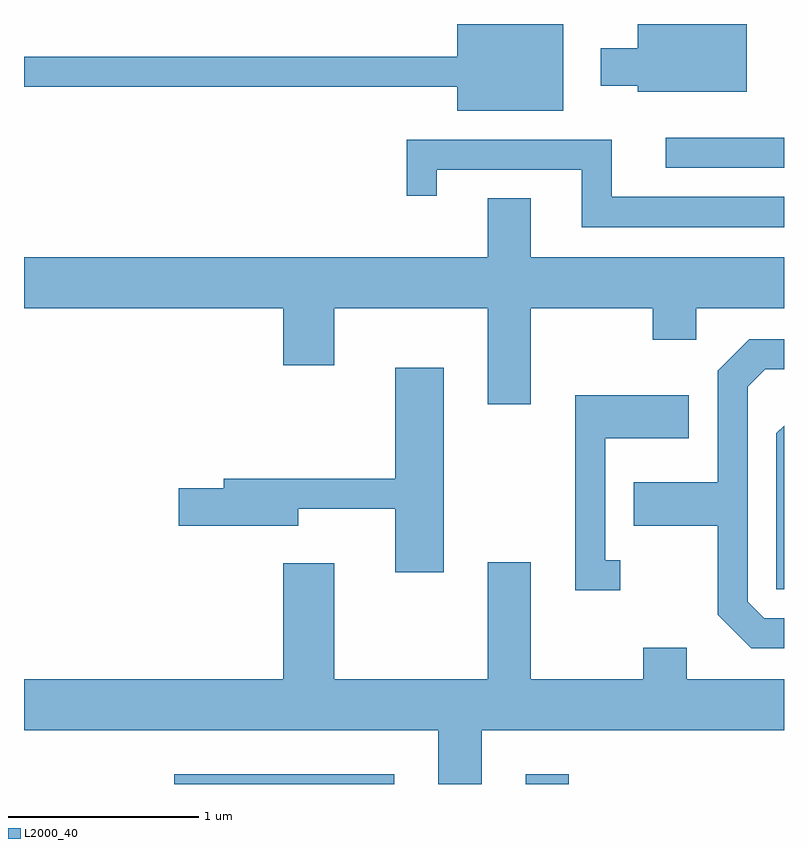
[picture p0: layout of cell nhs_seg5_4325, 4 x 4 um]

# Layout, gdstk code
import gdstk
lib = gdstk.Library(unit=1e-6, precision=1e-09)
def R(c, l, rs):  # rectangles x0, y0, x1, y1
    for r in rs: c.add(gdstk.rectangle(r[:2], r[2:], *l))
def P(c, l, *ps):  # polygons
    for p in ps: c.add(gdstk.Polygon(p, *l))
L2000_40 = (2000, 40)

nhs_seg5_4325 = lib.new_cell('nhs_seg5_4325')
R(nhs_seg5_4325, L2000_40, [(314.403,1452.072,315.559,1452.124), (316.251,1452.072,316.479,1452.124), (316.988,1455.316,317.611,1455.474)])
P(nhs_seg5_4325, L2000_40, [(316.449,1456.072),(315.891,1456.072),(315.891,1455.899),(313.611,1455.899),(313.611,1455.741),(315.891,1455.741),(315.891,1455.616),(316.449,1455.616)],
  [(317.414,1456.072),(316.841,1456.072),(316.841,1455.944),(316.646,1455.944),(316.646,1455.746),(316.841,1455.746),(316.841,1455.716),(317.414,1455.716)],
  [(317.611,1455.164),(316.704,1455.164),(316.704,1455.464),(315.626,1455.464),(315.626,1455.168),(315.784,1455.168),(315.784,1455.306),(316.546,1455.306),(316.546,1455.001),(317.611,1455.001)],
  [(316.279,1454.576),(316.921,1454.576),(316.921,1454.411),(317.149,1454.411),(317.149,1454.576),(317.611,1454.576),(317.611,1454.844),(316.279,1454.844),(316.279,1455.154),(316.051,1455.154),(316.051,1454.844),(313.611,1454.844),(313.611,1454.576),(314.976,1454.576),(314.976,1454.276),(315.244,1454.276),(315.244,1454.576),(316.051,1454.576),(316.051,1454.071),(316.279,1454.071)],
  [(317.611,1452.944),(317.507,1452.944),(317.419,1453.032),(317.419,1454.164),(317.512,1454.256),(317.611,1454.256),(317.611,1454.414),(317.429,1454.414),(317.261,1454.247),(317.261,1453.659),(316.821,1453.659),(316.821,1453.431),(317.261,1453.431),(317.261,1452.964),(317.439,1452.786),(317.611,1452.786)],
  [(315.819,1454.264),(315.566,1454.264),(315.566,1453.679),(314.661,1453.679),(314.661,1453.629),(314.426,1453.629),(314.426,1453.431),(315.054,1453.431),(315.054,1453.521),(315.566,1453.521),(315.566,1453.186),(315.819,1453.186)],
  [(316.748,1453.249),(316.669,1453.249),(316.669,1453.891),(317.109,1453.891),(317.109,1454.119),(316.511,1454.119),(316.511,1453.091),(316.748,1453.091)],
  [(317.611,1453.957),(317.571,1453.917),(317.571,1453.096),(317.611,1453.096)],
  [(317.611,1452.624),(317.099,1452.624),(317.099,1452.789),(316.871,1452.789),(316.871,1452.624),(316.279,1452.624),(316.279,1453.239),(316.051,1453.239),(316.051,1452.624),(315.244,1452.624),(315.244,1453.234),(314.976,1453.234),(314.976,1452.624),(313.611,1452.624),(313.611,1452.356),(315.791,1452.356),(315.791,1452.072),(316.019,1452.072),(316.019,1452.356),(317.611,1452.356)])

lib.write_gds('nhs_seg5_4325.gds')
